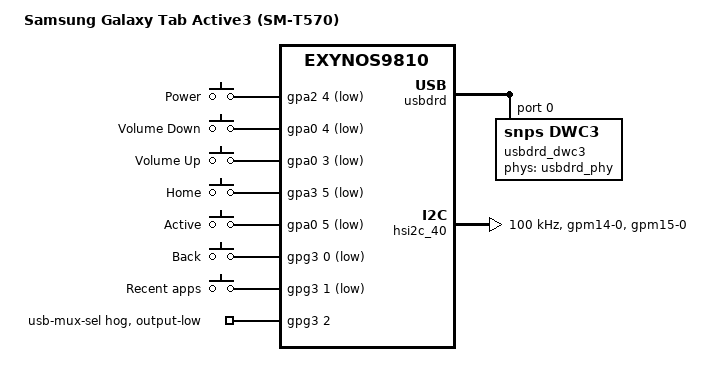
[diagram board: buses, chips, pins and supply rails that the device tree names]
// SPDX-License-Identifier: GPL-2.0 OR BSD-3-Clause
/*
 * Samsung Galaxy Tab Active3 Wi-Fi (gtactive3wifi/SM-T570) device tree source
 *
 * Based on exynos9810-starlte.dts:
 * Copyright (c) 2024 Markuss Broks <markuss.broks@gmail.com>
 * Copyright (c) 2024 Maksym Holovach <nergzd@nergzd723.xyz>
 *
 * Framebuffer base and key GPIOs are taken from the stock T570XXSFEYI1 DTBO
 * (hw_rev 5+). TODO: the memory map is still copied from starlte and must be
 * checked against /proc/iomem on the device.
 */

/dts-v1/;
#include "exynos9810.dtsi"
#include <dt-bindings/gpio/gpio.h>
#include <dt-bindings/input/input.h>

/ {
	model = "Samsung Galaxy Tab Active3 (SM-T570)";
	compatible = "samsung,gtactive3wifi", "samsung,exynos9810";
	chassis-type = "tablet";

	chosen {
		#address-cells = <2>;
		#size-cells = <1>;
		ranges;

		framebuffer@ca000000 {
			compatible = "simple-framebuffer";
			reg = <0x0 0xca000000 (1200 * 1920 * 4)>;
			width = <1200>;
			height = <1920>;
			stride = <(1200 * 4)>;
			format = "a8r8g8b8";
		};
	};

	gpio-keys {
		compatible = "gpio-keys";

		pinctrl-0 = <&key_power &key_voldown &key_volup &key_home &key_hot
			     &key_back &key_recent>;
		pinctrl-names = "default";

		power-key {
			label = "Power";
			linux,code = <KEY_POWER>;
			gpios = <&gpa2 4 GPIO_ACTIVE_LOW>;
			wakeup-source;
		};

		voldown-key {
			label = "Volume Down";
			linux,code = <KEY_VOLUMEDOWN>;
			gpios = <&gpa0 4 GPIO_ACTIVE_LOW>;
		};

		volup-key {
			label = "Volume Up";
			linux,code = <KEY_VOLUMEUP>;
			gpios = <&gpa0 3 GPIO_ACTIVE_LOW>;
		};

		home-key {
			label = "Home";
			linux,code = <KEY_HOMEPAGE>;
			gpios = <&gpa3 5 GPIO_ACTIVE_LOW>;
			wakeup-source;
		};

		/* "Active key" on the side, user-programmable in stock firmware */
		hot-key {
			label = "Active";
			linux,code = <KEY_PROG1>;
			gpios = <&gpa0 5 GPIO_ACTIVE_LOW>;
			wakeup-source;
		};

		back-key {
			label = "Back";
			linux,code = <KEY_BACK>;
			gpios = <&gpg3 0 GPIO_ACTIVE_LOW>;
		};

		recent-key {
			label = "Recent apps";
			linux,code = <KEY_APPSELECT>;
			gpios = <&gpg3 1 GPIO_ACTIVE_LOW>;
		};
	};

	memory@80000000 {
		device_type = "memory";
		reg = <0x0 0x80000000 0x3c800000>,
		      <0x0 0xc0000000 0x20000000>,
		      <0x0 0xe1900000 0x1e700000>,
		      <0x8 0x80000000 0x80000000>;
	};

	reserved-memory {
		#address-cells = <2>;
		#size-cells = <1>;
		ranges;

		framebuffer@ca000000 {
			reg = <0x0 0xca000000 (1200 * 1920 * 4)>;
			no-map;
		};

		/* bring-up: keep the previous boot's kernel log across resets */
		ramoops@8ff000000 {
			compatible = "ramoops";
			reg = <0x8 0xff000000 0x100000>;
			console-size = <0x80000>;
			record-size = <0x20000>;
			pmsg-size = <0x10000>;
		};

		/*
		 * bring-up: U-Boot's console log (CONFIG_EXYNOS_MOBILE_RAMLOG);
		 * the last 4 KiB hold uniLoader's boot decision record.
		 */
		uboot-log@8ff100000 {
			reg = <0x8 0xff100000 0x100000>;
			no-map;
		};
	};
};

&oscclk {
	clock-frequency = <26000000>;
};

&pinctrl_alive {
	key_power: key-power-pins {
		samsung,pins = "gpa2-4";
		samsung,pin-function = <EXYNOS_PIN_FUNC_EINT>;
		samsung,pin-pud = <EXYNOS_PIN_PULL_UP>;
		samsung,pin-drv = <EXYNOS5420_PIN_DRV_LV1>;
	};

	key_voldown: key-voldown-pins {
		samsung,pins = "gpa0-4";
		samsung,pin-function = <EXYNOS_PIN_FUNC_EINT>;
		samsung,pin-pud = <EXYNOS_PIN_PULL_UP>;
		samsung,pin-drv = <EXYNOS5420_PIN_DRV_LV1>;
	};

	key_volup: key-volup-pins {
		samsung,pins = "gpa0-3";
		samsung,pin-function = <EXYNOS_PIN_FUNC_EINT>;
		samsung,pin-pud = <EXYNOS_PIN_PULL_UP>;
		samsung,pin-drv = <EXYNOS5420_PIN_DRV_LV1>;
	};

	key_home: key-home-pins {
		samsung,pins = "gpa3-5";
		samsung,pin-function = <EXYNOS_PIN_FUNC_EINT>;
		samsung,pin-pud = <EXYNOS_PIN_PULL_UP>;
		samsung,pin-drv = <EXYNOS5420_PIN_DRV_LV1>;
	};

	key_hot: key-hot-pins {
		samsung,pins = "gpa0-5";
		samsung,pin-function = <EXYNOS_PIN_FUNC_EINT>;
		samsung,pin-pud = <EXYNOS_PIN_PULL_UP>;
		samsung,pin-drv = <EXYNOS5420_PIN_DRV_LV1>;
	};
};

&pinctrl_peric1 {
	key_back: key-back-pins {
		samsung,pins = "gpg3-0";
		samsung,pin-function = <EXYNOS_PIN_FUNC_INPUT>;
		samsung,pin-pud = <EXYNOS_PIN_PULL_UP>;
		samsung,pin-drv = <EXYNOS5420_PIN_DRV_LV1>;
	};

	key_recent: key-recent-pins {
		samsung,pins = "gpg3-1";
		samsung,pin-function = <EXYNOS_PIN_FUNC_INPUT>;
		samsung,pin-pud = <EXYNOS_PIN_PULL_UP>;
		samsung,pin-drv = <EXYNOS5420_PIN_DRV_LV1>;
	};
};

&pmu_system_controller {
	/* Boot reason for S-Boot, values from Samsung's sec_reboot.c */
	reboot-mode {
		compatible = "syscon-reboot-mode";
		offset = <0x080c>; /* INFORM3 */
		mode-normal = <0x12345670>;
		mode-download = <0x12345671>;
		mode-recovery = <0x12345674>;
		mode-bootloader = <0x1234567d>;
	};
};

&soc {
	/*
	 * USB 2.0 device mode. There is no Exynos9810 clock driver yet: the
	 * bootloader leaves CMU_FSYS0 running (UFS lives there too) and init
	 * forces the two USB gates on before loading these drivers, so the
	 * 26 MHz oscillator stands in for every clock here.
	 */
	usbdrd: usb@10c00000 {
		compatible = "samsung,exynos9810-dwusb3", "samsung,exynos850-dwusb3";
		ranges = <0x0 0x10c00000 0x10000>;
		clocks = <&oscclk>, <&oscclk>;
		clock-names = "bus_early", "ref";
		#address-cells = <1>;
		#size-cells = <1>;

		usbdrd_dwc3: usb@0 {
			compatible = "snps,dwc3";
			reg = <0x0 0x10000>;
			interrupts = <GIC_SPI 244 IRQ_TYPE_LEVEL_HIGH>;
			phys = <&usbdrd_phy 0>;
			phy-names = "usb2-phy";
			dr_mode = "peripheral";
			maximum-speed = "high-speed";
		};
	};

	usbdrd_phy: phy@11100000 {
		compatible = "samsung,exynos9810-usbdrd-phy";
		reg = <0x11100000 0x200>;
		clocks = <&oscclk>, <&oscclk>;
		clock-names = "phy", "ref";
		samsung,pmu-syscon = <&pmu_system_controller>;
		#phy-cells = <1>;
	};
};

/ {
	/*
	 * HSI2C_40 IP clock. The real rate depends on the CMGP mux/divider init
	 * prints; declaring it high only makes the bus slower than 100 kHz.
	 */
	clk_hsi2c40: clock-hsi2c40 {
		compatible = "fixed-clock";
		#clock-cells = <0>;
		clock-frequency = <400000000>;
	};
};

&pinctrl_cmgp {
	hsi2c40_bus: hsi2c40-bus-pins {
		samsung,pins = "gpm14-0", "gpm15-0";
		samsung,pin-function = <EXYNOS_PIN_FUNC_2>;
		samsung,pin-pud = <EXYNOS_PIN_PULL_NONE>;
		samsung,pin-drv = <EXYNOS5420_PIN_DRV_LV1>;
	};
};

&gpg3 {
	/* USB D+/D- mux: low = USB-C port, high = pogo connector */
	usb-mux-sel-hog {
		gpio-hog;
		gpios = <2 GPIO_ACTIVE_HIGH>;
		output-low;
		line-name = "usb-mux-sel";
	};
};

&soc {
	/* MAX77705 (charger / fuel gauge / USB-C) and SM5504 (pogo MUIC) */
	hsi2c_40: i2c@14360000 {
		compatible = "samsung,exynos8895-hsi2c";
		reg = <0x14360000 0x1000>;
		interrupts = <GIC_SPI 6 IRQ_TYPE_LEVEL_HIGH>;
		clocks = <&clk_hsi2c40>;
		clock-names = "hsi2c";
		clock-frequency = <100000>;
		pinctrl-0 = <&hsi2c40_bus>;
		pinctrl-names = "default";
		#address-cells = <1>;
		#size-cells = <0>;
	};
};

/ {
	/*
	 * UFS clocks as programmed by the bootloader (no clock driver yet):
	 * PLL_SHARED4 = 26 MHz * 205 / 8 = 666.25 MHz;
	 * FSYS0 bus = PLL_SHARED4 / 2, UFS_EMBD (UniPro) = PLL_SHARED4 / 2 / 2.
	 */
	ufs_core_clk: clock-ufs-core {
		compatible = "fixed-clock";
		#clock-cells = <0>;
		clock-frequency = <333125000>;
	};

	ufs_unipro_clk: clock-ufs-unipro {
		compatible = "fixed-clock";
		#clock-cells = <0>;
		clock-frequency = <166562500>;
	};
};

&soc {
	ufs_phy: phy@11124000 {
		compatible = "samsung,exynos9810-ufs-phy";
		reg = <0x11124000 0x800>;
		reg-names = "phy-pma";
		samsung,pmu-syscon = <&pmu_system_controller>;
		clocks = <&oscclk>;
		clock-names = "ref_clk";
		#phy-cells = <0>;
	};

	ufs: ufs@11120000 {
		compatible = "samsung,exynos9810-ufs";
		reg = <0x11120000 0x200>,
		      <0x11121100 0x200>,
		      <0x11110000 0x8000>,
		      <0x11130000 0x100>;
		reg-names = "hci", "vs_hci", "unipro", "ufsp";
		interrupts = <GIC_SPI 242 IRQ_TYPE_LEVEL_HIGH>;
		clocks = <&ufs_core_clk>, <&ufs_unipro_clk>;
		clock-names = "core_clk", "sclk_unipro_main";
		freq-table-hz = <0 0>, <0 0>;
		phys = <&ufs_phy>;
		phy-names = "ufs-phy";
	};
};

&soc {
	/*
	 * Cluster 0 (A55) watchdog, as in the stock DT (watchdog_cl0@10050000).
	 * uniLoader arms it before starting U-Boot; U-Boot kicks it and hands
	 * it to Linux running (see wdt_handover in gtactive3wifi.env).
	 */
	watchdog_cl0: watchdog@10050000 {
		compatible = "samsung,exynos9810-wdt";
		reg = <0x10050000 0x100>;
		interrupts = <GIC_SPI 464 IRQ_TYPE_LEVEL_HIGH>;
		clocks = <&oscclk>;
		clock-names = "watchdog";
		samsung,syscon-phandle = <&pmu_system_controller>;
		samsung,cluster-index = <0>;
		timeout-sec = <60>;
	};
};
